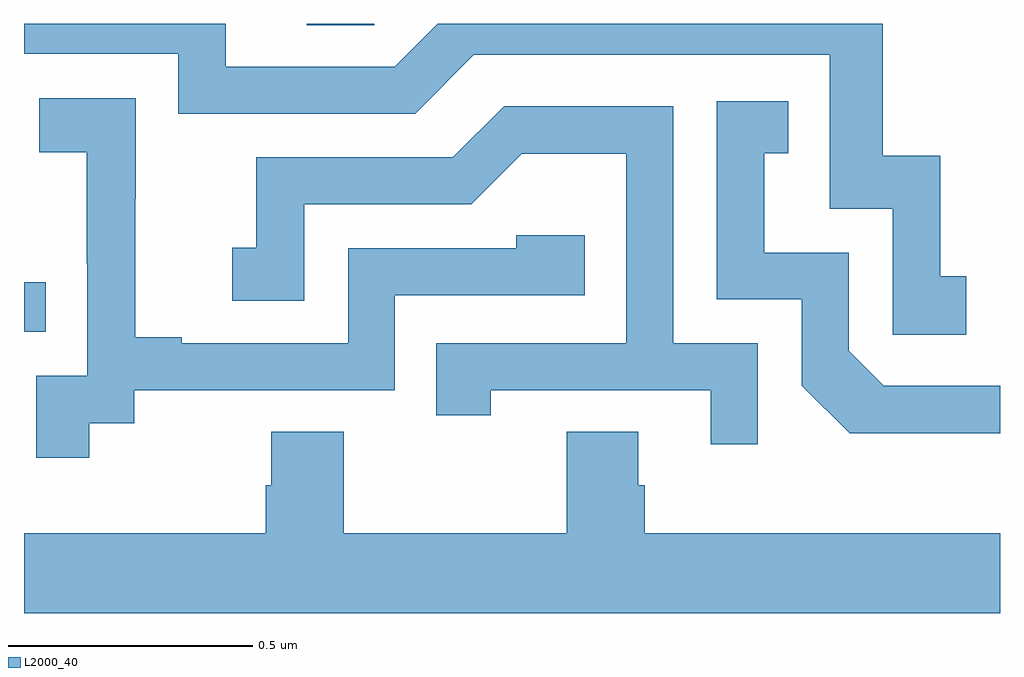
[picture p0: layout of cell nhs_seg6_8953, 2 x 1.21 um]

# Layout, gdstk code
import gdstk
lib = gdstk.Library(unit=1e-6, precision=1e-09)
def R(c, l, rs):  # rectangles x0, y0, x1, y1
    for r in rs: c.add(gdstk.rectangle(r[:2], r[2:], *l))
def P(c, l, *ps):  # polygons
    for p in ps: c.add(gdstk.Polygon(p, *l))
L2000_40 = (2000, 40)

nhs_seg6_8953 = lib.new_cell('nhs_seg6_8953')
R(nhs_seg6_8953, L2000_40, [(227,991.869,227.045,991.97), (227.579,992.497,227.718,992.5)])
P(nhs_seg6_8953, L2000_40, [(228.931,991.983),(228.878,991.983),(228.878,992.23),(228.76,992.23),(228.76,992.5),(227.848,992.5),(227.76,992.412),(227.413,992.412),(227.413,992.5),(227,992.5),(227,992.439),(227.316,992.439),(227.316,992.316),(227.802,992.316),(227.922,992.436),(228.651,992.436),(228.651,992.121),(228.78,992.121),(228.78,991.863),(228.931,991.863)],
  [(227.134,991.681),(227.226,991.681),(227.226,991.749),(227.76,991.749),(227.76,991.944),(228.149,991.944),(228.149,992.067),(228.009,992.067),(228.009,992.04),(227.664,992.04),(227.664,991.845),(227.323,991.845),(227.323,991.858),(227.228,991.858),(227.228,992.141),(227.229,992.141),(227.229,992.347),(227.031,992.347),(227.031,992.237),(227.129,992.237),(227.129,992.009),(227.13,992.009),(227.13,991.779),(227.025,991.779),(227.025,991.611),(227.134,991.611)],
  [(229,991.758),(228.762,991.758),(228.69,991.83),(228.69,992.031),(228.517,992.031),(228.517,992.235),(228.566,992.235),(228.566,992.341),(228.42,992.341),(228.42,991.935),(228.594,991.935),(228.594,991.758),(228.692,991.661),(229,991.661)],
  [(228.504,991.845),(228.33,991.845),(228.33,992.331),(227.984,992.331),(227.879,992.226),(227.476,992.226),(227.476,992.041),(227.427,992.041),(227.427,991.932),(227.574,991.932),(227.574,992.13),(227.916,992.13),(228.02,992.234),(228.234,992.234),(228.234,991.845),(227.845,991.845),(227.845,991.698),(227.956,991.698),(227.956,991.749),(228.407,991.749),(228.407,991.638),(228.504,991.638)],
  [(229,991.456),(228.272,991.456),(228.272,991.554),(228.259,991.554),(228.259,991.664),(228.112,991.664),(228.112,991.456),(227.655,991.456),(227.655,991.664),(227.507,991.664),(227.507,991.554),(227.495,991.554),(227.495,991.456),(227,991.456),(227,991.292),(229,991.292)])

lib.write_gds('nhs_seg6_8953.gds')
